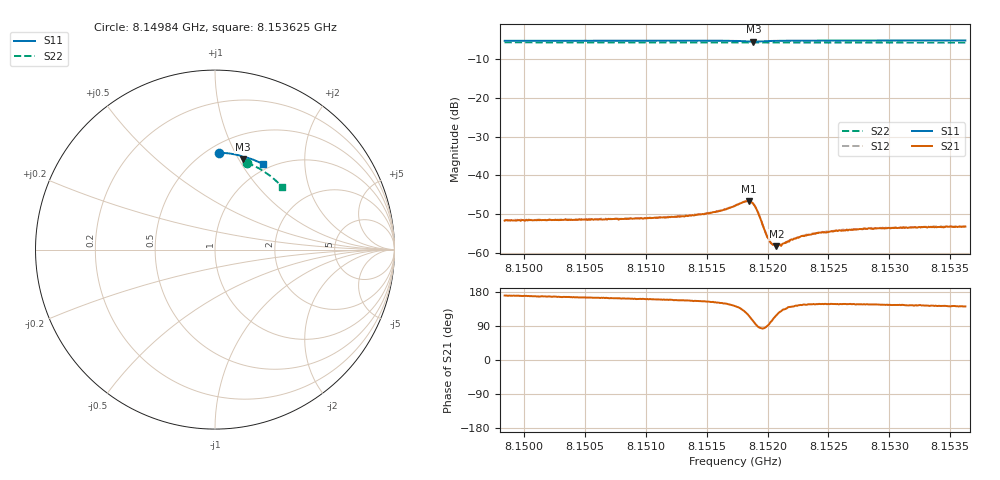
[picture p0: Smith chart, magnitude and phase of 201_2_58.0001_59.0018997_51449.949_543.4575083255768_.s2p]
#  HZ  S  RI  R  50.00
! Rohde & Schwarz Vector Network Analyzer
! Rohde-Schwarz,ZNB20-2Port,1311601062101988,3.16
! Created: UTC 3/21/2024, 12:59:15 AM
! freq[Hz]  re:S11  im:S11  re:S21  im:S21  re:S12  im:S12  re:S22  im:S22
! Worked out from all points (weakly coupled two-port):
!   401 points, 8.14984 GHz to 8.153625 GHz, reference 50 ohm
!   highest |S21| = -46.58 dB at 8.151846 GHz (marker M1); lowest = -58.2 dB at 8.152073 GHz (marker M2)
!   lowest |S11| = -5.6 dB at 8.151884 GHz (marker M3), VSWR 3.23, Z = 37.4 + j52.1 ohm
!   |S11| at or under -10 dB: nowhere
!   |S22| runs from -5.8 to -5.7 dB; largest |S21 - S12| = 0.00013
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8.1498404e9  0.0196 0.5397  -0.00259 0.000448  -0.00262 0.000523  0.1761 0.4849
8.1504743e9  0.0641 0.5373  -0.00262 0.000706  -0.00263 0.000742  0.214 0.4686
8.1511082e9  0.1085 0.531  -0.00269 0.00101  -0.00271 0.00104  0.2499 0.4496
8.1512974e9  0.1219 0.5281  -0.00276 0.00115  -0.00276 0.00118  0.2606 0.4435
8.1514961e9  0.1364 0.5246  -0.00291 0.0014  -0.00292 0.00145  0.2714 0.4364
8.1516096e9  0.1451 0.5217  -0.00304 0.00172  -0.00306 0.00178  0.2775 0.4324
8.1517326e9  0.1549 0.5163  -0.00321 0.00249  -0.0032 0.00256  0.284 0.4278
8.1518083e9  0.1595 0.5095  -0.00289 0.00356  -0.00286 0.00362  0.2877 0.4247
8.1518461e9  0.1589 0.5051  -0.00213 0.00418  -0.00209 0.00421  0.2897 0.4234
8.151884e9  0.1554 0.5032  -0.000869 0.00419  -0.000817 0.00425  0.2913 0.422
8.1519029e9  0.1537 0.504  -0.000273 0.00383  -0.000229 0.00387  0.2923 0.4214
8.1519218e9  0.1526 0.5057  0.000138 0.00332  0.000145 0.00337  0.2932 0.4207
8.1519786e9  0.1548 0.5113  0.000166 0.00192  0.000193 0.00194  0.2962 0.4189
8.152007e9  0.1574 0.5129  -6.64e-05 0.00155  -7.39e-05 0.00153  0.2978 0.4179
8.1520354e9  0.1602 0.5138  -0.000303 0.00128  -0.000308 0.00129  0.2991 0.4167
8.1520732e9  0.1639 0.5142  -0.000583 0.00108  -0.000581 0.0011  0.3012 0.4156
8.1520921e9  0.1657 0.5143  -0.000721 0.00104  -0.000718 0.00107  0.3023 0.4148
8.1522719e9  0.1804 0.5117  -0.00135 0.000933  -0.00133 0.000953  0.3115 0.4075
8.1523665e9  0.1875 0.5099  -0.00148 0.000961  -0.00151 0.000967  0.3162 0.4039
8.152603e9  0.2037 0.5044  -0.00164 0.00104  -0.00166 0.0011  0.3278 0.394
8.1530004e9  0.23 0.4938  -0.00175 0.00118  -0.00171 0.0012  0.3465 0.377
8.1536248e9  0.2691 0.4747  -0.00172 0.00138  -0.00172 0.00138  0.3742 0.3484
